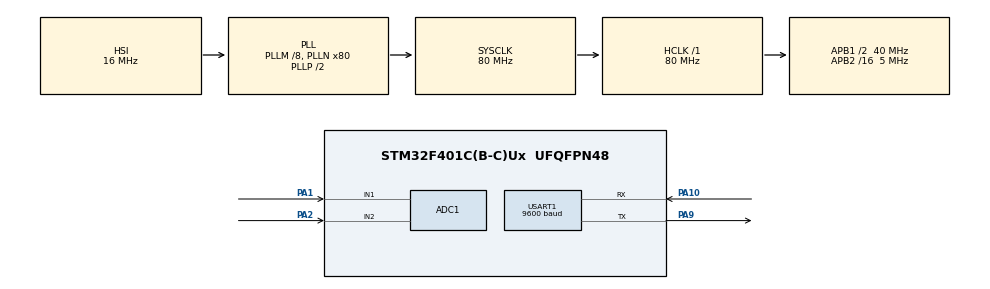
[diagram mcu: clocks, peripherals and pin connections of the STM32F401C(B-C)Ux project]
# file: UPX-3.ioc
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ADC1.Channel-0\#ChannelRegularConversion=ADC_CHANNEL_1
ADC1.Channel-1\#ChannelRegularConversion=ADC_CHANNEL_2
ADC1.ContinuousConvMode=ENABLE
ADC1.EOCSelection=ADC_EOC_SEQ_CONV
ADC1.NbrOfConversion=2
ADC1.NbrOfConversionFlag=1
ADC1.Rank-0\#ChannelRegularConversion=1
ADC1.Rank-1\#ChannelRegularConversion=2
ADC1.SamplingTime-0\#ChannelRegularConversion=ADC_SAMPLETIME_480CYCLES
ADC1.SamplingTime-1\#ChannelRegularConversion=ADC_SAMPLETIME_480CYCLES
ADC1.ScanConvMode=ENABLE
ADC1.master=1
Dma.ADC1.2.Direction=DMA_PERIPH_TO_MEMORY
Dma.ADC1.2.FIFOMode=DMA_FIFOMODE_DISABLE
Dma.ADC1.2.Instance=DMA2_Stream0
Dma.ADC1.2.MemDataAlignment=DMA_MDATAALIGN_WORD
Dma.ADC1.2.MemInc=DMA_MINC_ENABLE
Dma.ADC1.2.Mode=DMA_CIRCULAR
Dma.ADC1.2.PeriphDataAlignment=DMA_PDATAALIGN_WORD
Dma.ADC1.2.PeriphInc=DMA_PINC_DISABLE
Dma.ADC1.2.Priority=DMA_PRIORITY_VERY_HIGH
Dma.Request0=USART1_RX
Dma.Request1=USART1_TX
Dma.Request2=ADC1
Dma.USART1_RX.0.Direction=DMA_PERIPH_TO_MEMORY
Dma.USART1_RX.0.FIFOMode=DMA_FIFOMODE_DISABLE
Dma.USART1_RX.0.Instance=DMA2_Stream2
Dma.USART1_RX.0.MemDataAlignment=DMA_MDATAALIGN_BYTE
Dma.USART1_RX.0.MemInc=DMA_MINC_ENABLE
Dma.USART1_RX.0.Mode=DMA_NORMAL
Dma.USART1_RX.0.PeriphDataAlignment=DMA_PDATAALIGN_BYTE
Dma.USART1_RX.0.PeriphInc=DMA_PINC_DISABLE
Dma.USART1_RX.0.Priority=DMA_PRIORITY_LOW
Dma.USART1_TX.1.Direction=DMA_MEMORY_TO_PERIPH
Dma.USART1_TX.1.FIFOMode=DMA_FIFOMODE_DISABLE
Dma.USART1_TX.1.Instance=DMA2_Stream7
Dma.USART1_TX.1.MemDataAlignment=DMA_MDATAALIGN_BYTE
Dma.USART1_TX.1.MemInc=DMA_MINC_ENABLE
Dma.USART1_TX.1.Mode=DMA_NORMAL
Dma.USART1_TX.1.PeriphDataAlignment=DMA_PDATAALIGN_BYTE
Dma.USART1_TX.1.PeriphInc=DMA_PINC_DISABLE
Dma.USART1_TX.1.Priority=DMA_PRIORITY_LOW
Mcu.Family=STM32F4
Mcu.Name=STM32F401C(B-C)Ux
Mcu.Package=UFQFPN48
NVIC.ADC_IRQn=true\:1\:0\:true\:false\:true\:true\:true\:true
NVIC.DMA2_Stream0_IRQn=true\:0\:0\:false\:false\:true\:false\:true\:true
NVIC.DMA2_Stream2_IRQn=true\:0\:0\:false\:false\:true\:false\:true\:true
NVIC.DMA2_Stream7_IRQn=true\:0\:0\:false\:false\:true\:false\:true\:true
NVIC.PriorityGroup=NVIC_PRIORITYGROUP_4
NVIC.USART1_IRQn=true\:0\:0\:false\:false\:true\:true\:true\:true
PA1.Signal=ADCx_IN1
PA10.Mode=Asynchronous
PA10.Signal=USART1_RX
PA2.Signal=ADCx_IN2
PA9.Mode=Asynchronous
PA9.Signal=USART1_TX
ProjectManager.HeapSize=0x200
ProjectManager.StackSize=0x400
ProjectManager.TargetToolchain=STM32CubeIDE
RCC.48MHZClocksFreq_Value=40000000
RCC.AHBFreq_Value=80000000
RCC.APB1CLKDivider=RCC_HCLK_DIV2
RCC.APB1Freq_Value=40000000
RCC.APB1TimFreq_Value=80000000
RCC.APB2CLKDivider=RCC_HCLK_DIV16
RCC.APB2Freq_Value=5000000
RCC.APB2TimFreq_Value=10000000
RCC.CortexFreq_Value=80000000
RCC.HCLKFreq_Value=80000000
RCC.HSE_VALUE=25000000
RCC.HSI_VALUE=16000000
RCC.LSE_VALUE=32768
RCC.PLLM=8
RCC.PLLN=80
RCC.SYSCLKFreq_VALUE=80000000
RCC.SYSCLKSource=RCC_SYSCLKSOURCE_PLLCLK
RCC.VCOOutputFreq_Value=160000000
SH.ADCx_IN1.0=ADC1_IN1,IN1
SH.ADCx_IN2.0=ADC1_IN2,IN2
USART1.BaudRate=9600
USART1.VirtualMode=VM_ASYNC
VP_TIM2_VS_ClockSourceINT.Mode=Internal
board=custom

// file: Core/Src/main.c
/* USER CODE BEGIN Header */
/**
  ******************************************************************************
  * @file           : main.c
  * @brief          : Main program body
  ******************************************************************************
  * @attention
  *
  * Copyright (c) 2024 STMicroelectronics.
  * All rights reserved.
  *
  * This software is licensed under terms that can be found in the LICENSE file
  * in the root directory of this software component.
  * If no LICENSE file comes with this software, it is provided AS-IS.
  *
  ******************************************************************************
  */
/* USER CODE END Header */
#include "main.h"

/* USER CODE BEGIN Includes */
#include "data_tratament.h"
#include "sensores.h"
#include "string.h"
#include "stdio.h"
/* USER CODE END Includes */

/* USER CODE BEGIN PTD */
typedef enum
{
	ADC_READ,
	CALCULE_RMS,
	CALCULE_WATTS,
	DATA_TRATAMENT,
	SEND_DATA
}Machine_state_t;
/* USER CODE END PTD */

/* USER CODE BEGIN PM */

uint8_t flag_ADC_DMA = 0;

char *data;

/* USER CODE END PM */

ADC_HandleTypeDef hadc1;
DMA_HandleTypeDef hdma_adc1;

TIM_HandleTypeDef htim2;

UART_HandleTypeDef huart1;
DMA_HandleTypeDef hdma_usart1_rx;
DMA_HandleTypeDef hdma_usart1_tx;

/* USER CODE BEGIN PV */
void HAL_ADC_ConvCpltCallback(ADC_HandleTypeDef* hadc)
{
    if (hadc->Instance == ADC1)
    {
        flag_ADC_DMA = 1;
    }
}

/* USER CODE END PV */

void SystemClock_Config(void);
static void MX_GPIO_Init(void);
static void MX_DMA_Init(void);
static void MX_USART1_UART_Init(void);
static void MX_ADC1_Init(void);
static void MX_TIM2_Init(void);

int main(void)
{

  /* USER CODE BEGIN 1 */
 	uint8_t tamanho, cont = 0;
	uint16_t i;
	uint32_t previousTick;
	uint16_t iData[512];
	uint16_t vData[512];
	uint16_t adc_dma[1024];
	data_calcule_t calcule;

  /* USER CODE END 1 */

  /* MCU Configuration--------------------------------------------------------*/

  /* Reset of all peripherals, Initializes the Flash interface and the Systick. */
  HAL_Init();

  /* Configure the system clock */
  SystemClock_Config();

  /* Initialize all configured peripherals */
  MX_GPIO_Init();
  MX_DMA_Init();
  MX_USART1_UART_Init();
  MX_ADC1_Init();
  MX_TIM2_Init();
  /* USER CODE BEGIN 2 */
  HAL_DMA_Init(&hdma_adc1);

  Machine_state_t state = ADC_READ;

  /* USER CODE END 2 */

  /* Infinite loop */
  /* USER CODE BEGIN WHILE */
  while (1)
  {
	  switch(state)
	  {
	  	  case ADC_READ:
	  		  if(cont == 0)
	  		  {
  		  		  HAL_ADC_Start_DMA(&hadc1, (uint32_t*)adc_dma, 1024);
  		  		  cont = 1;
	  		  }
			  if(flag_ADC_DMA == 1){
				  for(i = 0; i < 512; i++)
				  {
					  iData[i] = adc_dma[i*2];
					  vData[i] = adc_dma[i*2 + 1];
				  }
				  HAL_ADC_Stop_DMA(&hadc1);
				  cont = 0;
				  state = CALCULE_RMS;
			  }
	  		  break;
	  	  case CALCULE_RMS:
	  		  calcIrms(&calcule, 512, 90.91, iData);
	  		  calcVrms(&calcule, 512, vData);

	  		  flag_ADC_DMA = 0;
	  		  state = CALCULE_WATTS;
	  		  break;

	  	  case CALCULE_WATTS:
	  		  calcule.pVA = calcule.iRms * calcule.vRms;
	  		  state = DATA_TRATAMENT;
	  		  break;

	  	  case DATA_TRATAMENT:
	  		  data_processing(&calcule, &data, &tamanho);
	  		  state = SEND_DATA;
	  		  break;

	  	  case SEND_DATA:
	  		  if(HAL_GetTick() - previousTick > 10000)
	  		  {
	  			  previousTick = HAL_GetTick();
	  			  HAL_UART_Transmit_DMA(&huart1, (uint8_t*)data, strlen(data));
	  		  }
			  free(data);
	  		  state = ADC_READ;
	  		  break;

	  }
    /* USER CODE END WHILE */

  }
}

void SystemClock_Config(void)
{
  RCC_OscInitTypeDef RCC_OscInitStruct = {0};
  RCC_ClkInitTypeDef RCC_ClkInitStruct = {0};

  /** Configure the main internal regulator output voltage
  */
  __HAL_RCC_PWR_CLK_ENABLE();
  __HAL_PWR_VOLTAGESCALING_CONFIG(PWR_REGULATOR_VOLTAGE_SCALE2);

  /** Initializes the RCC Oscillators according to the specified parameters
  * in the RCC_OscInitTypeDef structure.
  */
  RCC_OscInitStruct.OscillatorType = RCC_OSCILLATORTYPE_HSI;
  RCC_OscInitStruct.HSIState = RCC_HSI_ON;
  RCC_OscInitStruct.HSICalibrationValue = RCC_HSICALIBRATION_DEFAULT;
  RCC_OscInitStruct.PLL.PLLState = RCC_PLL_ON;
  RCC_OscInitStruct.PLL.PLLSource = RCC_PLLSOURCE_HSI;
  RCC_OscInitStruct.PLL.PLLM = 8;
  RCC_OscInitStruct.PLL.PLLN = 80;
  RCC_OscInitStruct.PLL.PLLP = RCC_PLLP_DIV2;
  RCC_OscInitStruct.PLL.PLLQ = 4;
  if (HAL_RCC_OscConfig(&RCC_OscInitStruct) != HAL_OK)
  {
    Error_Handler();
  }

  /** Initializes the CPU, AHB and APB buses clocks
  */
  RCC_ClkInitStruct.ClockType = RCC_CLOCKTYPE_HCLK|RCC_CLOCKTYPE_SYSCLK
                              |RCC_CLOCKTYPE_PCLK1|RCC_CLOCKTYPE_PCLK2;
  RCC_ClkInitStruct.SYSCLKSource = RCC_SYSCLKSOURCE_PLLCLK;
  RCC_ClkInitStruct.AHBCLKDivider = RCC_SYSCLK_DIV1;
  RCC_ClkInitStruct.APB1CLKDivider = RCC_HCLK_DIV2;
  RCC_ClkInitStruct.APB2CLKDivider = RCC_HCLK_DIV16;

  if (HAL_RCC_ClockConfig(&RCC_ClkInitStruct, FLASH_LATENCY_2) != HAL_OK)
  {
    Error_Handler();
  }
}

static void MX_ADC1_Init(void)
{

  ADC_ChannelConfTypeDef sConfig = {0};

  /** Configure the global features of the ADC (Clock, Resolution, Data Alignment and number of conversion)
  */
  hadc1.Instance = ADC1;
  hadc1.Init.ClockPrescaler = ADC_CLOCK_SYNC_PCLK_DIV2;
  hadc1.Init.Resolution = ADC_RESOLUTION_12B;
  hadc1.Init.ScanConvMode = ENABLE;
  hadc1.Init.ContinuousConvMode = ENABLE;
  hadc1.Init.DiscontinuousConvMode = DISABLE;
  hadc1.Init.ExternalTrigConvEdge = ADC_EXTERNALTRIGCONVEDGE_NONE;
  hadc1.Init.ExternalTrigConv = ADC_SOFTWARE_START;
  hadc1.Init.DataAlign = ADC_DATAALIGN_RIGHT;
  hadc1.Init.NbrOfConversion = 2;
  hadc1.Init.DMAContinuousRequests = ENABLE;
  hadc1.Init.EOCSelection = ADC_EOC_SEQ_CONV;
  if (HAL_ADC_Init(&hadc1) != HAL_OK)
  {
    Error_Handler();
  }

  /** Configure for the selected ADC regular channel its corresponding rank in the sequencer and its sample time.
  */
  sConfig.Channel = ADC_CHANNEL_1;
  sConfig.Rank = 1;
  sConfig.SamplingTime = ADC_SAMPLETIME_480CYCLES;
  if (HAL_ADC_ConfigChannel(&hadc1, &sConfig) != HAL_OK)
  {
    Error_Handler();
  }
  /* USER CODE BEGIN ADC1_Init 2 */
  sConfig.Channel = ADC_CHANNEL_2;
  sConfig.Rank = 2;
  sConfig.SamplingTime = ADC_SAMPLETIME_480CYCLES;
  if (HAL_ADC_ConfigChannel(&hadc1, &sConfig) != HAL_OK) {
	  Error_Handler();
  }
  /* USER CODE END ADC1_Init 2 */

}

static void MX_TIM2_Init(void)
{

  TIM_ClockConfigTypeDef sClockSourceConfig = {0};
  TIM_MasterConfigTypeDef sMasterConfig = {0};

  htim2.Instance = TIM2;
  htim2.Init.Prescaler = 0;
  htim2.Init.CounterMode = TIM_COUNTERMODE_UP;
  htim2.Init.Period = 4294967295;
  htim2.Init.ClockDivision = TIM_CLOCKDIVISION_DIV1;
  htim2.Init.AutoReloadPreload = TIM_AUTORELOAD_PRELOAD_DISABLE;
  if (HAL_TIM_Base_Init(&htim2) != HAL_OK)
  {
    Error_Handler();
  }
  sClockSourceConfig.ClockSource = TIM_CLOCKSOURCE_INTERNAL;
  if (HAL_TIM_ConfigClockSource(&htim2, &sClockSourceConfig) != HAL_OK)
  {
    Error_Handler();
  }
  sMasterConfig.MasterOutputTrigger = TIM_TRGO_RESET;
  sMasterConfig.MasterSlaveMode = TIM_MASTERSLAVEMODE_DISABLE;
  if (HAL_TIMEx_MasterConfigSynchronization(&htim2, &sMasterConfig) != HAL_OK)
  {
    Error_Handler();
  }

}

static void MX_USART1_UART_Init(void)
{

  huart1.Instance = USART1;
  huart1.Init.BaudRate = 9600;
  huart1.Init.WordLength = UART_WORDLENGTH_8B;
  huart1.Init.StopBits = UART_STOPBITS_1;
  huart1.Init.Parity = UART_PARITY_NONE;
  huart1.Init.Mode = UART_MODE_TX_RX;
  huart1.Init.HwFlowCtl = UART_HWCONTROL_NONE;
  huart1.Init.OverSampling = UART_OVERSAMPLING_16;
  if (HAL_UART_Init(&huart1) != HAL_OK)
  {
    Error_Handler();
  }

}

static void MX_DMA_Init(void)
{

  /* DMA controller clock enable */
  __HAL_RCC_DMA2_CLK_ENABLE();

  /* DMA interrupt init */
  /* DMA2_Stream0_IRQn interrupt configuration */
  HAL_NVIC_SetPriority(DMA2_Stream0_IRQn, 0, 0);
  HAL_NVIC_EnableIRQ(DMA2_Stream0_IRQn);
  /* DMA2_Stream2_IRQn interrupt configuration */
  HAL_NVIC_SetPriority(DMA2_Stream2_IRQn, 0, 0);
  HAL_NVIC_EnableIRQ(DMA2_Stream2_IRQn);
  /* DMA2_Stream7_IRQn interrupt configuration */
  HAL_NVIC_SetPriority(DMA2_Stream7_IRQn, 0, 0);
  HAL_NVIC_EnableIRQ(DMA2_Stream7_IRQn);

}

static void MX_GPIO_Init(void)
{

  /* GPIO Ports Clock Enable */
  __HAL_RCC_GPIOA_CLK_ENABLE();

}

void Error_Handler(void)
{
  __disable_irq();
  while (1)
  {
  }
}
